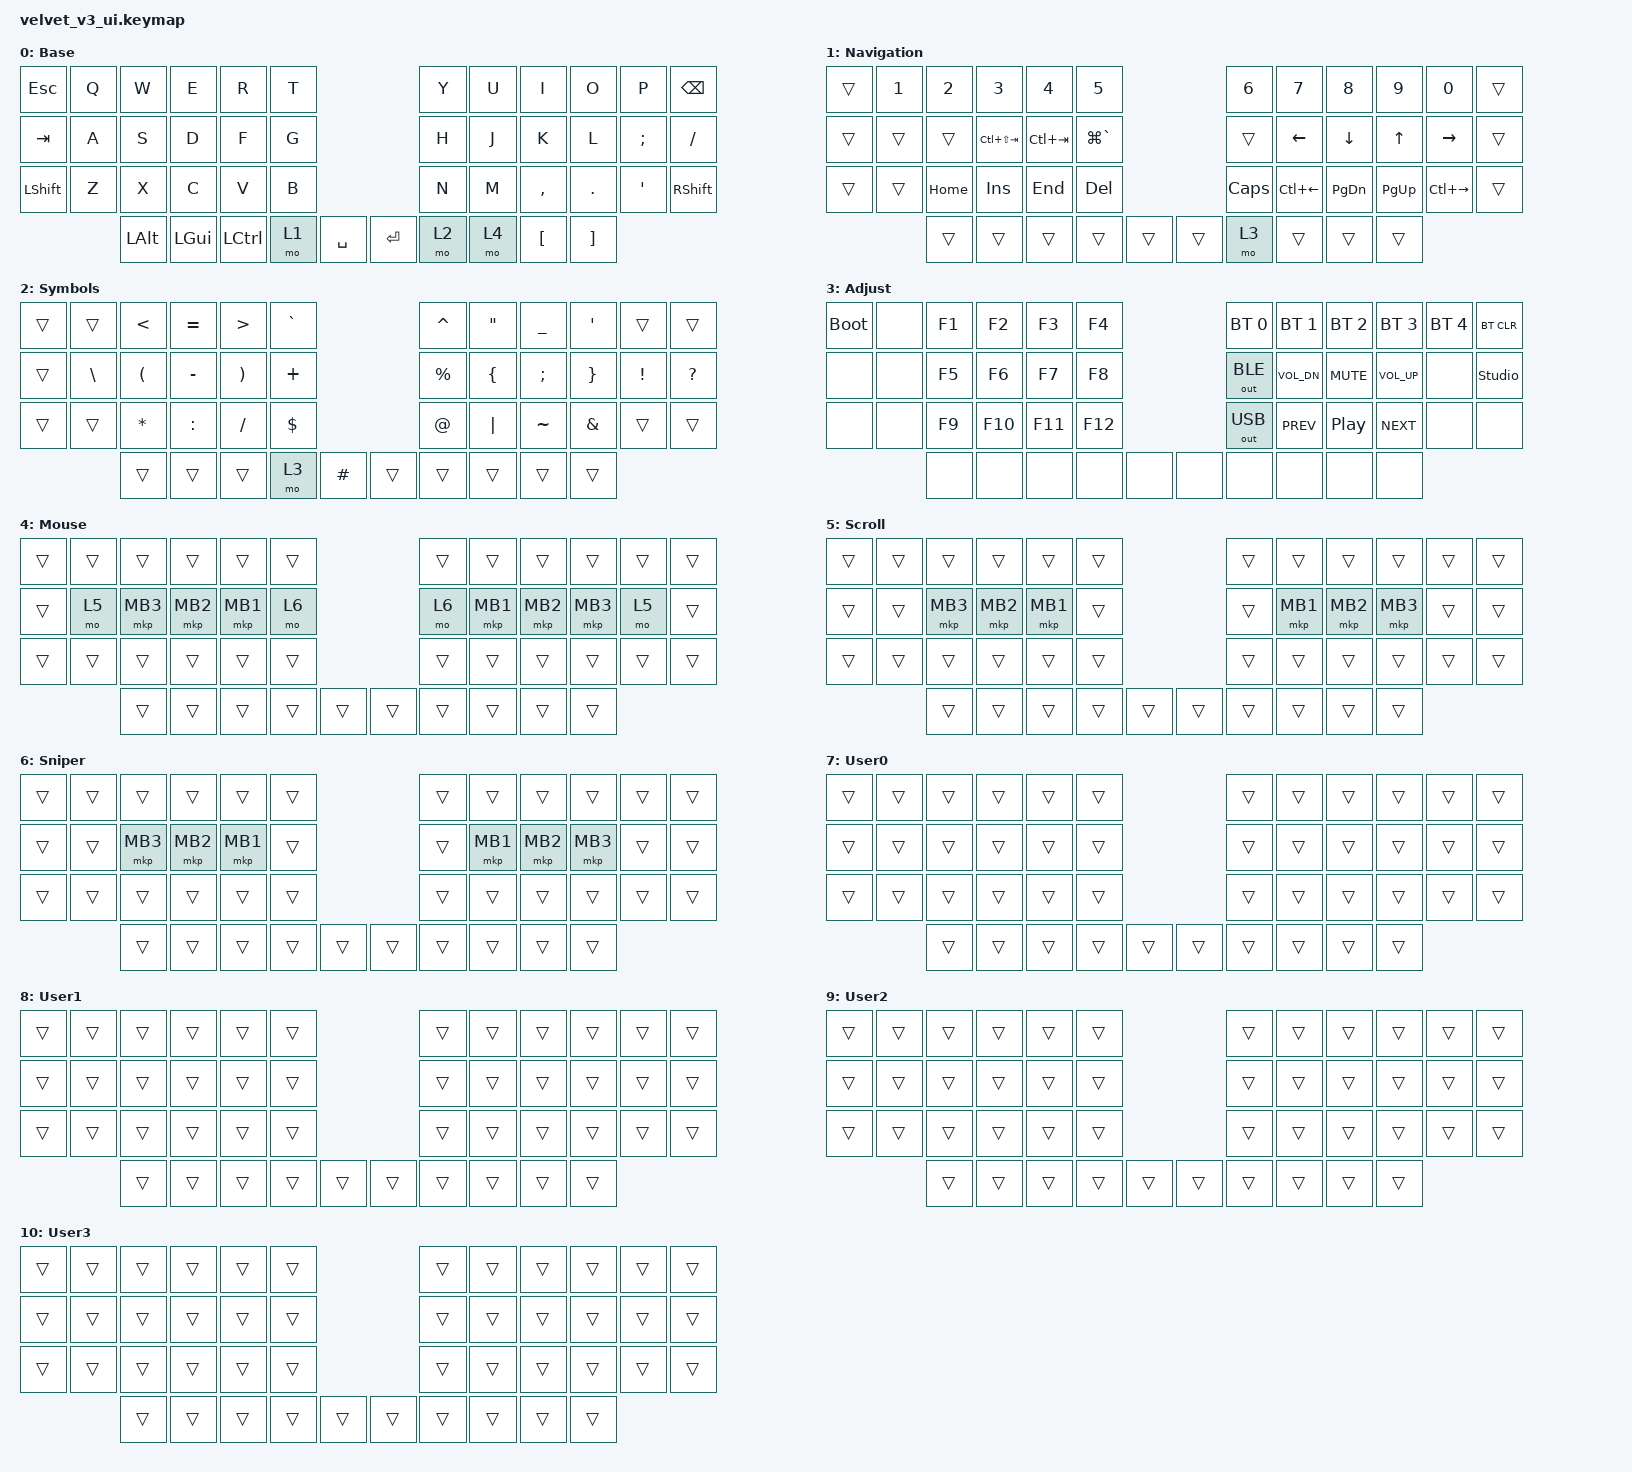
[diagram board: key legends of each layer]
#include "keys_ru.h"
#include <dt-bindings/zmk/input_transform.h>
#include <input/processors.dtsi>
#include <zephyr/dt-bindings/input/input-event-codes.h>
#include <behaviors.dtsi>
#include <dt-bindings/zmk/bt.h>
#include <dt-bindings/zmk/keys.h>
#include <dt-bindings/zmk/outputs.h>
#include <dt-bindings/zmk/pointing.h>

/ {
    behaviors {
        cap_sen: cap_sen {
            compatible = "zmk,behavior-hold-tap";
            label = "CAP_SEN";
            bindings = <&mo>, <&mkp>;

            #binding-cells = <2>;
            tapping-term-ms = <150>;
            hold-while-undecided;
        };

        mouse_layer: mouse_layer {
            compatible = "zmk,behavior-sticky-key";
            label = "MOUSE_LAYER";
            bindings = <&mo>;
            #binding-cells = <1>;
            release-after-ms = <200>;
        };

        zip_auto_mouse: zip_auto_mouse {
            compatible = "zmk,input-processor-temp-layer";
            #input-processor-cells = <2>;
            require-prior-idle-ms = <800>;
            excluded-positions = <>;
        };
    };

    combos {
        compatible = "zmk,combos";

        lang {
            bindings = <&kp LC(SPACE)>;
            key-positions = <27 28>;
        };

        kubectl-namespace {
            bindings = <&kubectl_namespace>;
            key-positions = <20 30>;
        };

        kubeclt-prod {
            bindings = <&kubectl_production>;
            key-positions = <20 10>;
        };

        kubectl-dev {
            bindings = <&kubectl_dev>;
            key-positions = <20 15>;
        };
    };

    macros {
        kubectl_namespace: kubectl_namespace {
            compatible = "zmk,behavior-macro";
            #binding-cells = <0>;
            bindings =
                <&macro_wait_time 10>,
                <&kp K &kp U &kp B &kp E &kp C &kp T &kp L &kp SPACE &kp MINUS &kp N &kp SPACE>,
                <&macro_wait_time 10>;

            label = "KUBECTL_NAMESPACE";
        };

        kubectl_production: kubectl_production {
            compatible = "zmk,behavior-macro";
            #binding-cells = <0>;
            bindings =
                <&macro_wait_time 10>,
                <&kp K &kp U &kp B &kp E &kp C &kp T &kp L &kp SPACE &kp MINUS &kp N &kp SPACE &kp P &kp R &kp O &kp TAB>,
                <&macro_wait_time 10>;

            label = "KUBECTL_PRODUCTION";
        };

        kubectl_dev: kubectl_dev {
            compatible = "zmk,behavior-macro";
            #binding-cells = <0>;
            bindings =
                <&macro_wait_time 10>,
                <&kp K &kp U &kp B &kp E &kp C &kp T &kp L &kp SPACE &kp MINUS &kp N &kp SPACE &kp D &kp E &kp V &kp TAB>,
                <&macro_wait_time 10>;

            label = "KUBECTL_DEV";
        };
    };

    keymap {
        compatible = "zmk,keymap";

        base {
            bindings = <
&kp ESC    &kp Q  &kp W     &kp E     &kp R      &kp T                        &kp Y  &kp U  &kp I      &kp O     &kp P     &kp BSPC
&kp TAB    &kp A  &kp S     &kp D     &kp F      &kp G                        &kp H  &kp J  &kp K      &kp L     &kp SEMI  &kp SLASH
&kp LSHFT  &kp Z  &kp X     &kp C     &kp V      &kp B                        &kp N  &kp M  &kp COMMA  &kp DOT   &kp SQT   &kp RSHFT
                  &kp LALT  &kp LGUI  &kp LCTRL  &mo 1  &kp SPACE    &kp RET  &mo 2  &mo 4  &kp LBKT   &kp RBKT
            >;

            display-name = "Base";
        };

        nav {
            bindings = <
&trans  &kp N1  &kp N2    &kp N3           &kp N4       &kp N5                           &kp N6    &kp N7          &kp N8          &kp N9        &kp N0           &trans
&trans  &trans  &trans    &kp LC(LS(TAB))  &kp LC(TAB)  &kp LG(GRAVE)                    &trans    &kp LEFT_ARROW  &kp DOWN_ARROW  &kp UP_ARROW  &kp RIGHT_ARROW  &trans
&trans  &trans  &kp HOME  &kp INS          &kp END      &kp DEL                          &kp CLCK  &kp LC(LEFT)    &kp PAGE_DOWN   &kp PAGE_UP   &kp LC(RIGHT)    &trans
                &trans    &trans           &trans       &trans         &trans    &trans  &mo 3     &trans          &trans          &trans
            >;

            display-name = "Navigation";
        };

        sym {
            bindings = <
&trans  &trans    &kp LT    &kp EQUAL  &kp GT    &kp GRAVE                      &kp CARET  &kp DQT   &kp UNDER  &kp SQT   &trans    &trans
&trans  &kp BSLH  &kp LPAR  &kp MINUS  &kp RPAR  &kp PLUS                       &kp PRCNT  &kp LBRC  &kp SEMI   &kp RBRC  &kp EXCL  &kp QUESTION
&trans  &trans    &kp STAR  &kp COLON  &kp FSLH  &kp DLLR                       &kp AT     &kp PIPE  &kp TILDE  &kp AMPS  &trans    &trans
                  &trans    &trans     &trans    &mo 3      &kp HASH    &trans  &trans     &trans    &trans     &trans
            >;

            display-name = "Symbols";
        };

        adj {
            bindings = <
&bootloader  &none  &kp F1  &kp F2   &kp F3   &kp F4                   &bt BT_SEL 0  &bt BT_SEL 1  &bt BT_SEL 2      &bt BT_SEL 3  &bt BT_SEL 4  &bt BT_CLR
&none        &none  &kp F5  &kp F6   &kp F7   &kp F8                   &out OUT_BLE  &kp C_VOL_DN  &kp C_MUTE        &kp C_VOL_UP  &none         &studio_unlock
&none        &none  &kp F9  &kp F10  &kp F11  &kp F12                  &out OUT_USB  &kp C_PREV    &kp C_PLAY_PAUSE  &kp C_NEXT    &none         &none
                    &none   &none    &none    &none    &none    &none  &none         &none         &none             &none
            >;

            display-name = "Adjust";
        };

        mouse {
            bindings = <
&trans  &trans  &trans    &trans    &trans    &trans                    &trans  &trans    &trans    &trans    &trans  &trans
&trans  &mo 5   &mkp MB3  &mkp MB2  &mkp MB1  &mo 6                     &mo 6   &mkp MB1  &mkp MB2  &mkp MB3  &mo 5   &trans
&trans  &trans  &trans    &trans    &trans    &trans                    &trans  &trans    &trans    &trans    &trans  &trans
                &trans    &trans    &trans    &trans  &trans    &trans  &trans  &trans    &trans    &trans
            >;

            display-name = "Mouse";
        };

        scroll {
            bindings = <
&trans  &trans  &trans    &trans    &trans    &trans                    &trans  &trans    &trans    &trans    &trans  &trans
&trans  &trans  &mkp MB3  &mkp MB2  &mkp MB1  &trans                    &trans  &mkp MB1  &mkp MB2  &mkp MB3  &trans  &trans
&trans  &trans  &trans    &trans    &trans    &trans                    &trans  &trans    &trans    &trans    &trans  &trans
                &trans    &trans    &trans    &trans  &trans    &trans  &trans  &trans    &trans    &trans
            >;

            display-name = "Scroll";
        };

        sniper {
            bindings = <
&trans  &trans  &trans    &trans    &trans    &trans                    &trans  &trans    &trans    &trans    &trans  &trans
&trans  &trans  &mkp MB3  &mkp MB2  &mkp MB1  &trans                    &trans  &mkp MB1  &mkp MB2  &mkp MB3  &trans  &trans
&trans  &trans  &trans    &trans    &trans    &trans                    &trans  &trans    &trans    &trans    &trans  &trans
                &trans    &trans    &trans    &trans  &trans    &trans  &trans  &trans    &trans    &trans
            >;

            display-name = "Sniper";
        };

        User0 {
            bindings = <
&trans  &trans  &trans  &trans  &trans  &trans                    &trans  &trans  &trans  &trans  &trans  &trans
&trans  &trans  &trans  &trans  &trans  &trans                    &trans  &trans  &trans  &trans  &trans  &trans
&trans  &trans  &trans  &trans  &trans  &trans                    &trans  &trans  &trans  &trans  &trans  &trans
                &trans  &trans  &trans  &trans  &trans    &trans  &trans  &trans  &trans  &trans
            >;

            display-name = "User0";
        };

        User1 {
            bindings = <
&trans  &trans  &trans  &trans  &trans  &trans                    &trans  &trans  &trans  &trans  &trans  &trans
&trans  &trans  &trans  &trans  &trans  &trans                    &trans  &trans  &trans  &trans  &trans  &trans
&trans  &trans  &trans  &trans  &trans  &trans                    &trans  &trans  &trans  &trans  &trans  &trans
                &trans  &trans  &trans  &trans  &trans    &trans  &trans  &trans  &trans  &trans
            >;

            display-name = "User1";
        };

        User2 {
            bindings = <
&trans  &trans  &trans  &trans  &trans  &trans                    &trans  &trans  &trans  &trans  &trans  &trans
&trans  &trans  &trans  &trans  &trans  &trans                    &trans  &trans  &trans  &trans  &trans  &trans
&trans  &trans  &trans  &trans  &trans  &trans                    &trans  &trans  &trans  &trans  &trans  &trans
                &trans  &trans  &trans  &trans  &trans    &trans  &trans  &trans  &trans  &trans
            >;

            display-name = "User2";
        };

        User3 {
            bindings = <
&trans  &trans  &trans  &trans  &trans  &trans                    &trans  &trans  &trans  &trans  &trans  &trans
&trans  &trans  &trans  &trans  &trans  &trans                    &trans  &trans  &trans  &trans  &trans  &trans
&trans  &trans  &trans  &trans  &trans  &trans                    &trans  &trans  &trans  &trans  &trans  &trans
                &trans  &trans  &trans  &trans  &trans    &trans  &trans  &trans  &trans  &trans
            >;

            display-name = "User3";
        };
    };
};

&trackball { cpi = <1400>; };

&trackball_listener {
    input-processors = <&zip_auto_mouse 4 500>, <&zip_xy_scaler 11 20>;

    scroller {
        layers = <5>;
        input-processors =
            <&zip_xy_transform INPUT_TRANSFORM_Y_INVERT>,
            <&zip_xy_scaler 1 32>,
            <&zip_xy_to_scroll_mapper>;
    };

    sniper {
        layers = <6>;
        input-processors = <&zip_xy_scaler 1 4>;
    };
};
